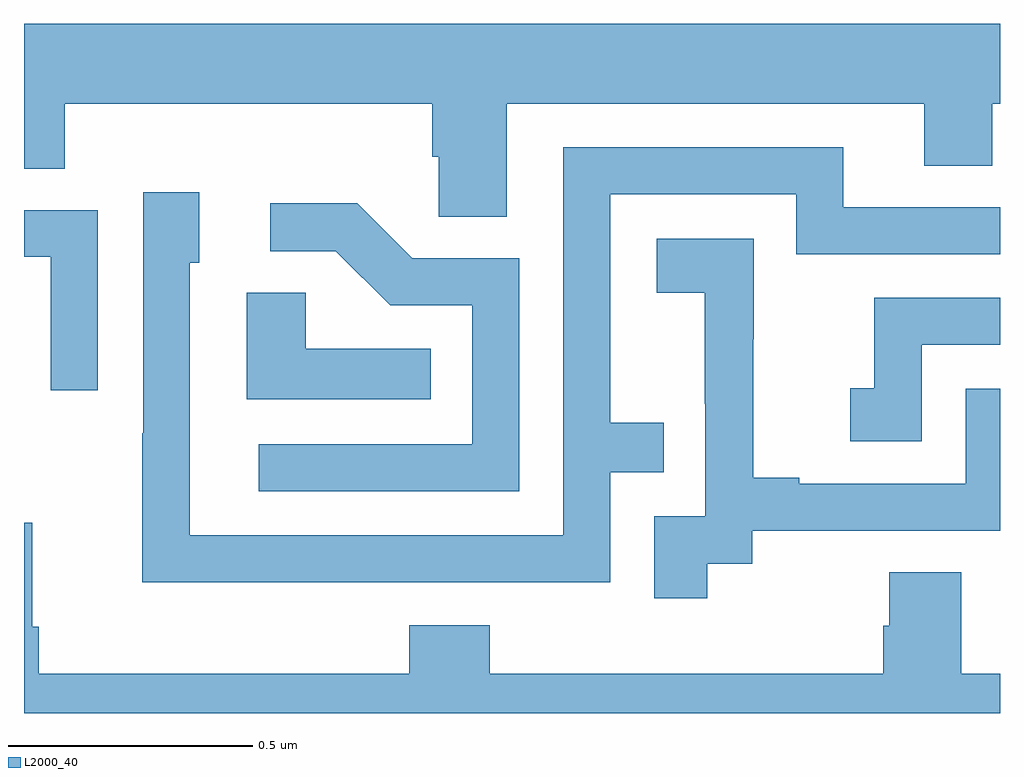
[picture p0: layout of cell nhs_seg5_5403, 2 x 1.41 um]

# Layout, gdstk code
import gdstk
lib = gdstk.Library(unit=1e-6, precision=1e-09)
def P(c, l, *ps):  # polygons
    for p in ps: c.add(gdstk.Polygon(p, *l))
L2000_40 = (2000, 40)

nhs_seg5_5403 = lib.new_cell('nhs_seg5_5403')
P(nhs_seg5_5403, L2000_40, [(182.989,902.048),(183.845,902.048),(183.845,901.921),(183.984,901.921),(183.984,902.048),(184,902.048),(184,902.212),(182,902.212),(182,901.915),(182.084,901.915),(182.084,902.048),(182.837,902.048),(182.837,901.939),(182.85,901.939),(182.85,901.816),(182.989,901.816)],
  [(182.705,901.068),(183.201,901.068),(183.201,901.293),(183.311,901.293),(183.311,901.394),(183.201,901.394),(183.201,901.863),(183.582,901.863),(183.582,901.74),(184,901.74),(184,901.836),(183.679,901.836),(183.679,901.959),(183.105,901.959),(183.105,901.164),(182.34,901.164),(182.34,901.722),(182.359,901.722),(182.359,901.867),(182.244,901.867),(182.244,901.373),(182.242,901.373),(182.242,901.067),(182.705,901.067)],
  [(183.015,901.731),(182.796,901.731),(182.683,901.844),(182.505,901.844),(182.505,901.746),(182.639,901.746),(182.75,901.635),(182.919,901.635),(182.919,901.35),(182.481,901.35),(182.481,901.254),(183.015,901.254)],
  [(182.151,901.83),(182,901.83),(182,901.734),(182.055,901.734),(182.055,901.461),(182.151,901.461)],
  [(183.4,901.105),(183.492,901.105),(183.492,901.173),(184,901.173),(184,901.464),(183.93,901.464),(183.93,901.269),(183.589,901.269),(183.589,901.282),(183.494,901.282),(183.494,901.565),(183.495,901.565),(183.495,901.771),(183.297,901.771),(183.297,901.661),(183.395,901.661),(183.395,901.433),(183.396,901.433),(183.396,901.203),(183.291,901.203),(183.291,901.035),(183.4,901.035)],
  [(182.834,901.546),(182.577,901.546),(182.577,901.661),(182.456,901.661),(182.456,901.442),(182.834,901.442)],
  [(183.84,901.554),(184,901.554),(184,901.65),(183.742,901.65),(183.742,901.465),(183.693,901.465),(183.693,901.356),(183.84,901.356)],
  [(184,900.88),(183.921,900.88),(183.921,901.088),(183.773,901.088),(183.773,900.978),(183.761,900.978),(183.761,900.88),(182.954,900.88),(182.954,900.979),(182.789,900.979),(182.789,900.88),(182.03,900.88),(182.03,900.976),(182.017,900.976),(182.017,901.189),(182,901.189),(182,900.799),(184,900.799)])

lib.write_gds('nhs_seg5_5403.gds')
